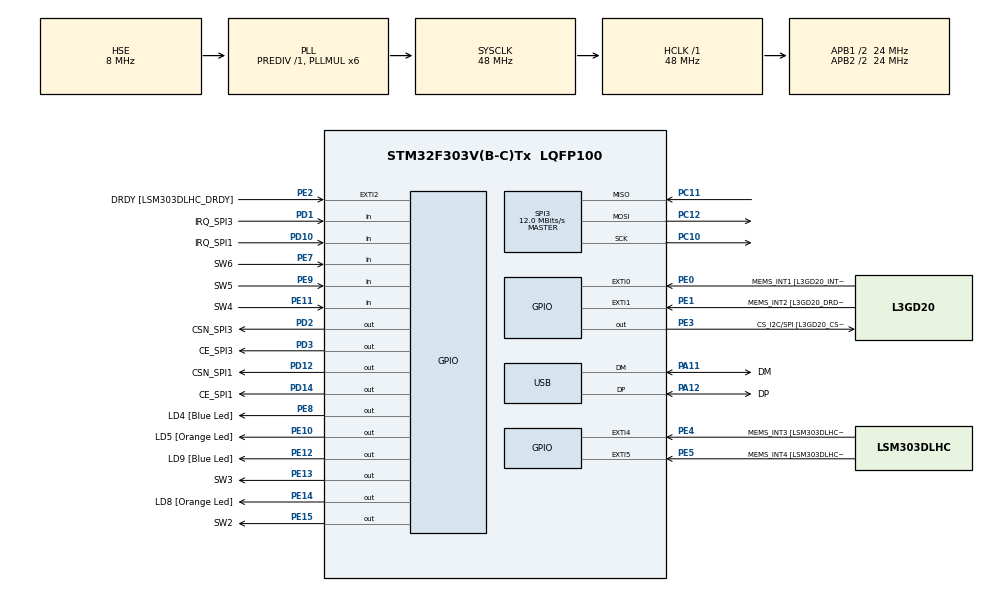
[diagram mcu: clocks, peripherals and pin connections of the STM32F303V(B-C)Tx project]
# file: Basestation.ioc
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Mcu.Family=STM32F3
Mcu.Name=STM32F303V(B-C)Tx
Mcu.Package=LQFP100
NVIC.PriorityGroup=NVIC_PRIORITYGROUP_0
NVIC.USB_LP_CAN_RX0_IRQn=true\:0\:0\:false\:false\:true
PA11.GPIO_Label=DM
PA11.Mode=Device
PA11.Signal=USB_DM
PA12.GPIO_Label=DP
PA12.Mode=Device
PA12.Signal=USB_DP
PA13.GPIO_Label=SWDIO
PA13.Signal=SYS_JTMS-SWDIO
PA14.GPIO_Label=SWCLK
PA14.Signal=SYS_JTCK-SWCLK
PA5.GPIO_Label=SPI1_SCK [L3GD20_SCL/SPC]
PA5.GPIO_Mode=GPIO_MODE_AF_PP
PA5.GPIO_PuPd=GPIO_NOPULL
PA5.GPIO_Speed=GPIO_SPEED_FREQ_LOW
PA5.Signal=SPI1_SCK
PA6.GPIO_Label=SPI1_MISO [L3GD20_SA0/SDO]
PA6.GPIO_Mode=GPIO_MODE_AF_PP
PA6.GPIO_PuPd=GPIO_NOPULL
PA6.GPIO_Speed=GPIO_SPEED_FREQ_LOW
PA6.Signal=SPI1_MISO
PA7.GPIO_Label=SPI1_MOSI [L3GD20_SDA/SDI/SDO]
PA7.GPIO_Mode=GPIO_MODE_AF_PP
PA7.GPIO_PuPd=GPIO_NOPULL
PA7.GPIO_Speed=GPIO_SPEED_FREQ_LOW
PA7.Signal=SPI1_MOSI
PB3.GPIO_Label=SWO
PB3.Signal=SYS_JTDO-TRACESWO
PB6.GPIO_FM6=__NULL
PB6.GPIO_Label=I2C1_SCL [LSM303DLHC_SCL]
PB6.GPIO_Mode=GPIO_MODE_AF_OD
PB6.GPIO_PuPd=GPIO_NOPULL
PB6.GPIO_Speed=GPIO_SPEED_FREQ_LOW
PB6.Signal=I2C1_SCL
PB7.GPIO_FM7=__NULL
PB7.GPIO_Label=I2C1_SDA [LSM303DLHC_SDA]
PB7.GPIO_Mode=GPIO_MODE_AF_OD
PB7.GPIO_PuPd=GPIO_NOPULL
PB7.GPIO_Speed=GPIO_SPEED_FREQ_LOW
PB7.Signal=I2C1_SDA
PC10.Mode=Full_Duplex_Master
PC10.Signal=SPI3_SCK
PC11.Mode=Full_Duplex_Master
PC11.Signal=SPI3_MISO
PC12.Mode=Full_Duplex_Master
PC12.Signal=SPI3_MOSI
PC14-OSC32_IN.GPIO_Label=OSC32_IN
PC14-OSC32_IN.Signal=RCC_OSC32_IN
PC15-OSC32_OUT.GPIO_Label=OSC32_OUT
PC15-OSC32_OUT.Signal=RCC_OSC32_OUT
PD1.GPIO_Label=IRQ_SPI3
PD1.Signal=GPIO_Input
PD10.GPIO_Label=IRQ_SPI1
PD10.Signal=GPIO_Input
PD12.GPIO_Label=CSN_SPI1
PD12.Signal=GPIO_Output
PD14.GPIO_Label=CE_SPI1
PD14.Signal=GPIO_Output
PD2.GPIO_Label=CSN_SPI3
PD2.Signal=GPIO_Output
PD3.GPIO_Label=CE_SPI3
PD3.Signal=GPIO_Output
PE0.GPIO_Label=MEMS_INT1 [L3GD20_INT1]
PE0.GPIO_ModeDefaultEXTI=GPIO_MODE_EVT_RISING
PE0.GPIO_PuPd=GPIO_NOPULL
PE0.Signal=GPXTI0
PE1.GPIO_Label=MEMS_INT2 [L3GD20_DRDY/INT2]
PE1.GPIO_ModeDefaultEXTI=GPIO_MODE_EVT_RISING
PE1.GPIO_PuPd=GPIO_NOPULL
PE1.Signal=GPXTI1
PE10.GPIO_Label=LD5 [Orange Led]
PE10.GPIO_ModeDefaultOutputPP=GPIO_MODE_OUTPUT_PP
PE10.GPIO_PuPd=GPIO_NOPULL
PE10.GPIO_Speed=GPIO_SPEED_FREQ_LOW
PE10.Signal=GPIO_Output
PE11.GPIO_Label=SW4
PE11.Signal=GPIO_Input
PE12.GPIO_Label=LD9 [Blue Led]
PE12.GPIO_ModeDefaultOutputPP=GPIO_MODE_OUTPUT_PP
PE12.GPIO_PuPd=GPIO_NOPULL
PE12.GPIO_Speed=GPIO_SPEED_FREQ_LOW
PE12.Signal=GPIO_Output
PE13.GPIO_Label=SW3
PE13.GPIO_ModeDefaultOutputPP=GPIO_MODE_OUTPUT_PP
PE13.GPIO_PuPd=GPIO_NOPULL
PE13.GPIO_Speed=GPIO_SPEED_FREQ_LOW
PE13.Signal=GPIO_Output
PE14.GPIO_Label=LD8 [Orange Led]
PE14.GPIO_ModeDefaultOutputPP=GPIO_MODE_OUTPUT_PP
PE14.GPIO_PuPd=GPIO_NOPULL
PE14.GPIO_Speed=GPIO_SPEED_FREQ_LOW
PE14.Signal=GPIO_Output
PE15.GPIO_Label=SW2
PE15.GPIO_ModeDefaultOutputPP=GPIO_MODE_OUTPUT_PP
PE15.GPIO_PuPd=GPIO_NOPULL
PE15.GPIO_Speed=GPIO_SPEED_FREQ_LOW
PE15.Signal=GPIO_Output
PE2.GPIO_Label=DRDY [LSM303DLHC_DRDY]
PE2.GPIO_ModeDefaultEXTI=GPIO_MODE_EVT_RISING
PE2.GPIO_PuPd=GPIO_NOPULL
PE2.Signal=GPXTI2
PE3.GPIO_Label=CS_I2C/SPI [L3GD20_CS_I2C/SPI]
PE3.GPIO_ModeDefaultOutputPP=GPIO_MODE_OUTPUT_PP
PE3.GPIO_PuPd=GPIO_NOPULL
PE3.GPIO_Speed=GPIO_SPEED_FREQ_LOW
PE3.Signal=GPIO_Output
PE4.GPIO_Label=MEMS_INT3 [LSM303DLHC_INT1]
PE4.GPIO_ModeDefaultEXTI=GPIO_MODE_EVT_RISING
PE4.GPIO_PuPd=GPIO_NOPULL
PE4.Signal=GPXTI4
PE5.GPIO_Label=MEMS_INT4 [LSM303DLHC_INT2]
PE5.GPIO_ModeDefaultEXTI=GPIO_MODE_EVT_RISING
PE5.GPIO_PuPd=GPIO_NOPULL
PE5.Signal=GPXTI5
PE7.GPIO_Label=SW6
PE7.Signal=GPIO_Input
PE8.GPIO_Label=LD4 [Blue Led]
PE8.GPIO_ModeDefaultOutputPP=GPIO_MODE_OUTPUT_PP
PE8.GPIO_PuPd=GPIO_NOPULL
PE8.GPIO_Speed=GPIO_SPEED_FREQ_LOW
PE8.Signal=GPIO_Output
PE9.GPIO_Label=SW5
PE9.Signal=GPIO_Input
PF0-OSC_IN.GPIO_Label=OSC_IN
PF0-OSC_IN.Mode=HSE-External-Clock-Source
PF0-OSC_IN.Signal=RCC_OSC_IN
PF1-OSC_OUT.GPIO_Label=OSC_OUT
PF1-OSC_OUT.Signal=RCC_OSC_OUT
ProjectManager.HeapSize=0x200
ProjectManager.StackSize=0x400
ProjectManager.TargetToolchain=SW4STM32
RCC.AHBFreq_Value=48000000
RCC.APB1CLKDivider=RCC_HCLK_DIV2
RCC.APB1Freq_Value=24000000
RCC.APB1TimFreq_Value=48000000
RCC.APB2CLKDivider=RCC_HCLK_DIV2
RCC.APB2Freq_Value=24000000
RCC.APB2TimFreq_Value=48000000
RCC.CortexFreq_Value=48000000
RCC.HCLKFreq_Value=48000000
RCC.HSE_VALUE=8000000
RCC.HSIState=RCC_HSI_ON
RCC.HSI_VALUE=8000000
RCC.LSE_VALUE=32768
RCC.PLLMUL=RCC_PLL_MUL6
RCC.SYSCLKFreq_VALUE=48000000
RCC.SYSCLKSourceVirtual=RCC_SYSCLKSOURCE_PLLCLK
RCC.USBFreq_Value=48000000
SPI3.BaudRatePrescaler=SPI_BAUDRATEPRESCALER_2
SPI3.CalculateBaudRate=12.0 MBits/s
SPI3.DataSize=SPI_DATASIZE_8BIT
SPI3.Mode=SPI_MODE_MASTER
USB_DEVICE.CLASS_NAME_FS=CDC
USB_DEVICE.USBD_HandleTypeDef=hUsbDeviceFS
USB_DEVICE.VirtualMode=Cdc
USB_DEVICE.VirtualModeFS=Cdc_FS
VP_USB_DEVICE_VS_USB_DEVICE_CDC_FS.Mode=CDC_FS
board=STM32F3DISCOVERY

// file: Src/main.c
/**
  ******************************************************************************
  * File Name          : main.c
  * Description        : Main program body
  ******************************************************************************
  *
  * Copyright (c) 2017 STMicroelectronics International N.V.
  * All rights reserved.
  *
  * Redistribution and use in source and binary forms, with or without
  * modification, are permitted, provided that the following conditions are met:
  *
  * 1. Redistribution of source code must retain the above copyright notice,
  *    this list of conditions and the following disclaimer.
  * 2. Redistributions in binary form must reproduce the above copyright notice,
  *    this list of conditions and the following disclaimer in the documentation
  *    and/or other materials provided with the distribution.
  * 3. Neither the name of STMicroelectronics nor the names of other
  *    contributors to this software may be used to endorse or promote products
  *    derived from this software without specific written permission.
  * 4. This software, including modifications and/or derivative works of this
  *    software, must execute solely and exclusively on microcontroller or
  *    microprocessor devices manufactured by or for STMicroelectronics.
  * 5. Redistribution and use of this software other than as permitted under
  *    this license is void and will automatically terminate your rights under
  *    this license.
  *
  * THIS SOFTWARE IS PROVIDED BY STMICROELECTRONICS AND CONTRIBUTORS "AS IS"
  * AND ANY EXPRESS, IMPLIED OR STATUTORY WARRANTIES, INCLUDING, BUT NOT
  * LIMITED TO, THE IMPLIED WARRANTIES OF MERCHANTABILITY, FITNESS FOR A
  * PARTICULAR PURPOSE AND NON-INFRINGEMENT OF THIRD PARTY INTELLECTUAL PROPERTY
  * RIGHTS ARE DISCLAIMED TO THE FULLEST EXTENT PERMITTED BY LAW. IN NO EVENT
  * SHALL STMICROELECTRONICS OR CONTRIBUTORS BE LIABLE FOR ANY DIRECT, INDIRECT,
  * INCIDENTAL, SPECIAL, EXEMPLARY, OR CONSEQUENTIAL DAMAGES (INCLUDING, BUT NOT
  * LIMITED TO, PROCUREMENT OF SUBSTITUTE GOODS OR SERVICES; LOSS OF USE, DATA,
  * OR PROFITS; OR BUSINESS INTERRUPTION) HOWEVER CAUSED AND ON ANY THEORY OF
  * LIABILITY, WHETHER IN CONTRACT, STRICT LIABILITY, OR TORT (INCLUDING
  * NEGLIGENCE OR OTHERWISE) ARISING IN ANY WAY OUT OF THE USE OF THIS SOFTWARE,
  * EVEN IF ADVISED OF THE POSSIBILITY OF SUCH DAMAGE.
  *
  ******************************************************************************
  */
#include "main.h"
#include "stm32f3xx_hal.h"
#include "spi.h"
#include "usb_device.h"
#include "gpio.h"

/* USER CODE BEGIN Includes */
#include "myNRF24.h"
#include "TextOut.h"
#include "packing.h"

/* USER CODE END Includes */

/* USER CODE BEGIN PV */
/* Private variables ---------------------------------------------------------*/

/* USER CODE END PV */

void SystemClock_Config(void);
void Error_Handler(void);

/* USER CODE BEGIN PFP */
/* Private function prototypes -----------------------------------------------*/

/* USER CODE END PFP */

int main(void)
{

  /* USER CODE BEGIN 1 */
	uint8_t madeUpPacket[12];

  /* USER CODE END 1 */

  /* MCU Configuration----------------------------------------------------------*/

  /* Reset of all peripherals, Initializes the Flash interface and the Systick. */
  HAL_Init();

  /* Configure the system clock */
  SystemClock_Config();

  /* Initialize all configured peripherals */
  MX_GPIO_Init();
  MX_SPI3_Init();
  MX_USB_DEVICE_Init();

  /* USER CODE BEGIN 2 */

  //fun();
  nssHigh(&hspi3);
  ceLow(&hspi3);
  uint8_t address[5] = {0x12, 0x34, 0x56, 0x78, 0x97};
  initBase(&hspi3, 0x2A, address);
  GPIO_PinState buttom6;
  GPIO_PinState buttom5;
  GPIO_PinState buttom4;
  GPIO_PinState buttom3;
  GPIO_PinState buttom2;
  GPIO_PinState prevButtom6;
  uint8_t remote = 0;

  /* USER CODE END 2 */

  /* Infinite loop */
  /* USER CODE BEGIN WHILE */

  int id = 7;
  int robot_vel = 0;
  int ang = 0;
  uint8_t rot_cclockwise = 0;
  int w_vel = 0;
  uint8_t kick_force = 0;
  uint8_t do_kick = 0;
  uint8_t chip = 0;
  uint8_t forced = 0;
  uint8_t dribble_cclockwise = 0;
  uint8_t dribble_vel = 0;
  uint8_t* byteArr = 0;
  uint8_t prevBlue = 0;
  uint8_t blue = 0;
  int cnt = 0;

  while (1)
  {
	  buttom6 = HAL_GPIO_ReadPin(GPIOE, GPIO_PIN_7);
	  buttom5 = HAL_GPIO_ReadPin(GPIOE, GPIO_PIN_9);
	  buttom4 = HAL_GPIO_ReadPin(GPIOE, GPIO_PIN_11);
	  buttom3 = HAL_GPIO_ReadPin(GPIOE, GPIO_PIN_13);
	  buttom2 = HAL_GPIO_ReadPin(GPIOE, GPIO_PIN_15);
	  blue = HAL_GPIO_ReadPin(GPIOA, Blue_Pin);

	  if(blue == 1 && blue != prevBlue){
		  //initBase(&hspi3, 0x2A, address);
		  HAL_Delay(100);
		  printAllRegisters(&hspi3);
	  }

	  if(!buttom6){
		  //TextOut("forward");
		  remote = 1;
		  robot_vel = 1000;
		  ang = 0;
		  createRobotPacket(id, robot_vel, ang, rot_cclockwise, w_vel, kick_force, do_kick, chip, forced, dribble_cclockwise, dribble_vel, madeUpPacket);

	  }
	  else if(!buttom5){
		  //TextOut("sidewards");
		  remote = 1;
		  robot_vel = 1000;
		  ang = 126;
		  createRobotPacket(id, robot_vel, ang, rot_cclockwise, w_vel, kick_force, do_kick, chip, forced, dribble_cclockwise, dribble_vel, madeUpPacket);
	  }
	  else if(!buttom4){
		  //TextOut("turning");
		  remote = 1;
		  w_vel = 360;
		  rot_cclockwise = 1;
		  createRobotPacket(id, robot_vel, ang, rot_cclockwise, w_vel, kick_force, do_kick, chip, forced, dribble_cclockwise, dribble_vel, madeUpPacket);

	  }
	  else{
		  //TextOut("stop");
		  robot_vel = 0;
		  w_vel = 0;
		  createRobotPacket(id, robot_vel, ang, rot_cclockwise, w_vel, kick_force, do_kick, chip, forced, dribble_cclockwise, dribble_vel, madeUpPacket);

	  }

	  if(remote == 1){

		  for(int i = 0; i < 12; i++){
			  usbData[i] = madeUpPacket[i];

		  }
		  //usbData[7] = 0;
		  usbLength = 12;
		  /*for(int i = 0; i < 8; i++){
			  sprintf(smallStrBuffer, "byte %i: %x\n", i, usbData[i]);
			  TextOut(smallStrBuffer);
		  }*/
		  sendPacketPart1(&hspi3, usbData);
		  usbLength = 0;
		  HAL_Delay(10);
	  }

	  if(usbLength == 12){
		  //uint8_t testData[8] = {42, 42, 42, 42, 42, 42, 42,42};

		  /*for(int i = 0; i < 12; i++){
			  sprintf(smallStrBuffer, "%02x", usbData[i]);
			  TextOut(smallStrBuffer);
		  }*/

		  sendPacketPart1(&hspi3, usbData);
		  usbLength = 0;
	  }

	  if(usbLength != 0){
		  //fun();
	  }

	  prevButtom6 = buttom6;
	  prevBlue = blue;
	  waitAck(&hspi3, usbData[0] >> 4);

  /* USER CODE END WHILE */

  }

}

/** System Clock Configuration
*/
void SystemClock_Config(void)
{

  RCC_OscInitTypeDef RCC_OscInitStruct;
  RCC_ClkInitTypeDef RCC_ClkInitStruct;
  RCC_PeriphCLKInitTypeDef PeriphClkInit;

    /**Initializes the CPU, AHB and APB busses clocks
    */
  RCC_OscInitStruct.OscillatorType = RCC_OSCILLATORTYPE_HSE;
  RCC_OscInitStruct.HSEState = RCC_HSE_BYPASS;
  RCC_OscInitStruct.HSEPredivValue = RCC_HSE_PREDIV_DIV1;
  RCC_OscInitStruct.HSIState = RCC_HSI_ON;
  RCC_OscInitStruct.PLL.PLLState = RCC_PLL_ON;
  RCC_OscInitStruct.PLL.PLLSource = RCC_PLLSOURCE_HSE;
  RCC_OscInitStruct.PLL.PLLMUL = RCC_PLL_MUL6;
  if (HAL_RCC_OscConfig(&RCC_OscInitStruct) != HAL_OK)
  {
    Error_Handler();
  }

    /**Initializes the CPU, AHB and APB busses clocks
    */
  RCC_ClkInitStruct.ClockType = RCC_CLOCKTYPE_HCLK|RCC_CLOCKTYPE_SYSCLK
                              |RCC_CLOCKTYPE_PCLK1|RCC_CLOCKTYPE_PCLK2;
  RCC_ClkInitStruct.SYSCLKSource = RCC_SYSCLKSOURCE_PLLCLK;
  RCC_ClkInitStruct.AHBCLKDivider = RCC_SYSCLK_DIV1;
  RCC_ClkInitStruct.APB1CLKDivider = RCC_HCLK_DIV2;
  RCC_ClkInitStruct.APB2CLKDivider = RCC_HCLK_DIV2;

  if (HAL_RCC_ClockConfig(&RCC_ClkInitStruct, FLASH_LATENCY_1) != HAL_OK)
  {
    Error_Handler();
  }

  PeriphClkInit.PeriphClockSelection = RCC_PERIPHCLK_USB;
  PeriphClkInit.USBClockSelection = RCC_USBCLKSOURCE_PLL;
  if (HAL_RCCEx_PeriphCLKConfig(&PeriphClkInit) != HAL_OK)
  {
    Error_Handler();
  }

    /**Configure the Systick interrupt time
    */
  HAL_SYSTICK_Config(HAL_RCC_GetHCLKFreq()/1000);

    /**Configure the Systick
    */
  HAL_SYSTICK_CLKSourceConfig(SYSTICK_CLKSOURCE_HCLK);

  /* SysTick_IRQn interrupt configuration */
  HAL_NVIC_SetPriority(SysTick_IRQn, 0, 0);
}

void Error_Handler(void)
{
  while(1)
  {
  }
}

/************************ (C) COPYRIGHT STMicroelectronics *****END OF FILE****/
